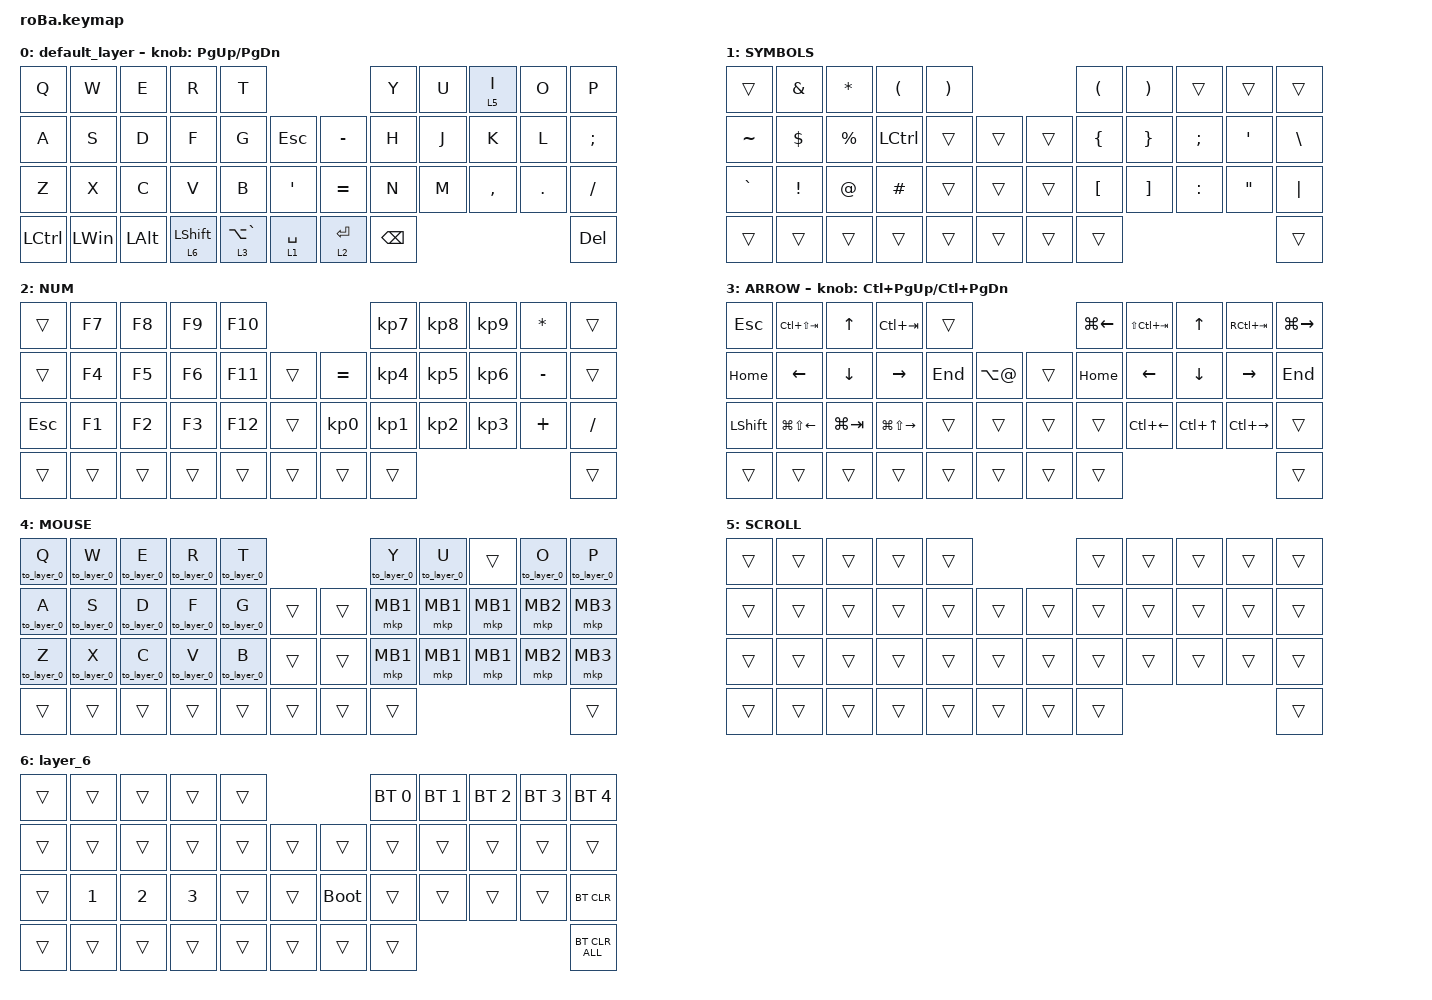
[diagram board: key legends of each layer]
#include <behaviors.dtsi>
#include <dt-bindings/zmk/bt.h>
#include <dt-bindings/zmk/keys.h>
#include <dt-bindings/zmk/pointing.h>

#define MOUSE 4
#define SCROLL 5
#define NUM 6

&mt {
    flavor = "balanced";
    quick-tap-ms = <0>;
};

/ {
    combos {
        compatible = "zmk,combos";

        tab {
            bindings = <&kp TAB>;
            key-positions = <11 12>;
        };

        shift_tab {
            bindings = <&kp LS(TAB)>;
            key-positions = <12 13>;
        };

        muhennkann {
            bindings = <&to_layer_0 INT_MUHENKAN>;
            key-positions = <11 10>;
        };

        double_quotation {
            bindings = <&kp DOUBLE_QUOTES>;
            key-positions = <20 21>;
        };

        eq {
            bindings = <&kp EQUAL>;
            key-positions = <24 25>;
        };
    };

    macros {
        to_layer_0: to_layer_0 {
            compatible = "zmk,behavior-macro-one-param";
            #binding-cells = <1>;
            bindings = <&to 0 &macro_param_1to1 &kp MACRO_PLACEHOLDER>;
            label = "TO_LAYER_0";
        };
    };

    behaviors {
        lt_to_layer_0: lt_to_layer_0 {
            compatible = "zmk,behavior-hold-tap";
            label = "LAYER_TAP_TO_0";
            bindings = <&mo>, <&to_layer_0>;

            #binding-cells = <2>;
            tapping-term-ms = <200>;
        };
    };

    keymap {
        compatible = "zmk,keymap";

        default_layer {
            bindings = <
&kp Q      &kp W         &kp E         &kp R                        &kp T                                                          &kp Y          &kp U  &lt 5 I    &kp O    &kp P
&kp A      &kp S         &kp D         &kp F                        &kp G                       &kp ESC               &kp MINUS    &kp H          &kp J  &kp K      &kp L    &kp SEMICOLON
&kp Z      &kp X         &kp C         &kp V                        &kp B                       &kp SINGLE_QUOTE      &kp EQUAL    &kp N          &kp M  &kp COMMA  &kp DOT  &kp SLASH
&kp LCTRL  &kp LEFT_WIN  &kp LEFT_ALT  &lt_to_layer_0 6 LEFT_SHIFT  &lt_to_layer_0 3 LA(GRAVE)  &lt 1 SPACE           &lt 2 ENTER  &kp BACKSPACE                             &kp DEL
            >;

            sensor-bindings = <&inc_dec_kp PG_UP PAGE_DOWN>;
        };

        SYMBOLS {
            bindings = <
&trans     &kp AMPERSAND    &kp ASTERISK  &kp LEFT_PARENTHESIS  &kp RIGHT_PARENTHESIS                      &kp LEFT_PARENTHESIS  &kp RIGHT_PARENTHESIS  &trans         &trans             &trans
&kp TILDE  &kp DOLLAR       &kp PERCENT   &kp LCTRL             &trans                 &trans      &trans  &kp LEFT_BRACE        &kp RIGHT_BRACE        &kp SEMICOLON  &kp SQT            &kp BACKSLASH
&kp GRAVE  &kp EXCLAMATION  &kp AT_SIGN   &kp HASH              &trans                 &trans      &trans  &kp LEFT_BRACKET      &kp RIGHT_BRACKET      &kp COLON      &kp DOUBLE_QUOTES  &kp PIPE
&trans     &trans           &trans        &trans                &trans                 &trans      &trans  &trans                                                                         &trans
            >;
        };

        NUM {
            bindings = <
&trans   &kp F7  &kp F8  &kp F9  &kp F10                               &kp KP_NUMBER_7  &kp KP_NUMBER_8  &kp KP_NUMBER_9  &kp ASTRK  &trans
&trans   &kp F4  &kp F5  &kp F6  &kp F11  &trans      &kp EQUAL        &kp KP_NUMBER_4  &kp KP_NUMBER_5  &kp KP_NUMBER_6  &kp MINUS  &trans
&kp ESC  &kp F1  &kp F2  &kp F3  &kp F12  &trans      &kp KP_NUMBER_0  &kp KP_NUMBER_1  &kp KP_NUMBER_2  &kp KP_NUMBER_3  &kp PLUS   &kp SLASH
&trans   &trans  &trans  &trans  &trans   &trans      &trans           &trans                                                        &trans
            >;
        };

        ARROW {
            bindings = <
&kp ESCAPE      &kp LC(LS(TAB))         &kp UP_ARROW    &kp LC(TAB)              &trans                                &kp LG(LEFT_ARROW)  &kp LS(LC(TAB))     &kp UP_ARROW      &kp RC(TAB)          &kp LG(RIGHT_ARROW)
&kp HOME        &kp LEFT_ARROW          &kp DOWN_ARROW  &kp RIGHT_ARROW          &kp END  &kp LA(AT_SIGN)      &trans  &kp HOME            &kp LEFT_ARROW      &kp DOWN_ARROW    &kp RIGHT_ARROW      &kp END
&kp LEFT_SHIFT  &kp LG(LS(LEFT_ARROW))  &kp LG(TAB)     &kp LG(LS(RIGHT_ARROW))  &trans   &trans               &trans  &trans              &kp LC(LEFT_ARROW)  &kp LC(UP_ARROW)  &kp LC(RIGHT_ARROW)  &trans
&trans          &trans                  &trans          &trans                   &trans   &trans               &trans  &trans                                                                         &trans
            >;

            sensor-bindings = <&inc_dec_kp LC(PAGE_UP) LC(PAGE_DOWN)>;
        };

        MOUSE {
            bindings = <
&to_layer_0 Q  &to_layer_0 W  &to_layer_0 E  &to_layer_0 R  &to_layer_0 T                      &to_layer_0 Y  &to_layer_0 U  &trans    &to_layer_0 O  &to_layer_0 P
&to_layer_0 A  &to_layer_0 S  &to_layer_0 D  &to_layer_0 F  &to_layer_0 G  &trans      &trans  &mkp MB1       &mkp MB1       &mkp MB1  &mkp MB2       &mkp MB3
&to_layer_0 Z  &to_layer_0 X  &to_layer_0 C  &to_layer_0 V  &to_layer_0 B  &trans      &trans  &mkp MB1       &mkp MB1       &mkp MB1  &mkp MB2       &mkp MB3
&trans         &trans         &trans         &trans         &trans         &trans      &trans  &trans                                                 &trans
            >;
        };

        SCROLL {
            bindings = <
&trans  &trans  &trans  &trans  &trans                      &trans  &trans  &trans  &trans  &trans
&trans  &trans  &trans  &trans  &trans  &trans      &trans  &trans  &trans  &trans  &trans  &trans
&trans  &trans  &trans  &trans  &trans  &trans      &trans  &trans  &trans  &trans  &trans  &trans
&trans  &trans  &trans  &trans  &trans  &trans      &trans  &trans                          &trans
            >;
        };

        layer_6 {
            bindings = <
&trans  &trans        &trans        &trans        &trans                           &bt BT_SEL 0  &bt BT_SEL 1  &bt BT_SEL 2  &bt BT_SEL 3  &bt BT_SEL 4
&trans  &trans        &trans        &trans        &trans  &trans      &trans       &trans        &trans        &trans        &trans        &trans
&trans  &kp NUMBER_1  &kp NUMBER_2  &kp NUMBER_3  &trans  &trans      &bootloader  &trans        &trans        &trans        &trans        &bt BT_CLR
&trans  &trans        &trans        &trans        &trans  &trans      &trans       &trans                                                  &bt BT_CLR_ALL
            >;
        };
    };
};
